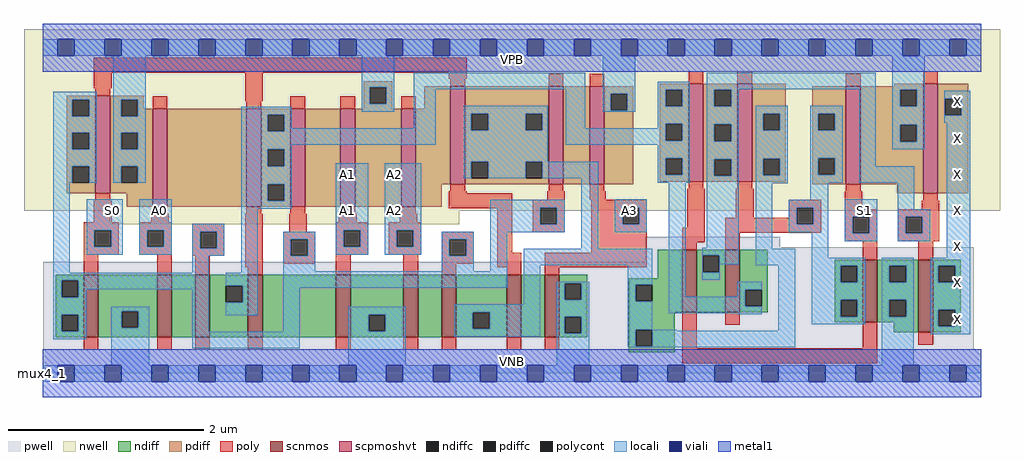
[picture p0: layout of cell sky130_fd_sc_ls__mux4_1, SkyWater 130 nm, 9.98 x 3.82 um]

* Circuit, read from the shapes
.subckt sky130_fd_sc_ls__mux4_1 A0 A1 A2 A3 S0 S1 VGND VNB VPB VPWR X
XM1 VGND S0 n1 VNB sky130_fd_pr__nfet_01v8 w=0.64 l=0.15
XM2 n2 A0 VGND VNB sky130_fd_pr__nfet_01v8 w=0.64 l=0.15
XM3 n3 n1 n2 VNB sky130_fd_pr__nfet_01v8 w=0.64 l=0.15
XM4 n4 S0 n3 VNB sky130_fd_pr__nfet_01v8 w=0.64 l=0.15
XM5 VGND A1 n4 VNB sky130_fd_pr__nfet_01v8 w=0.64 l=0.15
XM6 n5 A2 VGND VNB sky130_fd_pr__nfet_01v8 w=0.64 l=0.15
XM7 n6 n1 n5 VNB sky130_fd_pr__nfet_01v8 w=0.64 l=0.15
XM8 n7 S0 n6 VNB sky130_fd_pr__nfet_01v8 w=0.64 l=0.15
XM9 VGND A3 n7 VNB sky130_fd_pr__nfet_01v8 w=0.64 l=0.15
XM10 n8 S1 n6 VNB sky130_fd_pr__nfet_01v8 w=0.64 l=0.15
XM11 n3 n9 n8 VNB sky130_fd_pr__nfet_01v8 w=0.64 l=0.15
XM12 VGND S1 n9 VNB sky130_fd_pr__nfet_01v8 w=0.64 l=0.15
XM13 X n8 VGND VNB sky130_fd_pr__nfet_01v8 w=0.74 l=0.15
XM14 VPWR S0 n1 VPB sky130_fd_pr__pfet_01v8_hvt w=1 l=0.15
XM15 n10 A0 VPWR VPB sky130_fd_pr__pfet_01v8_hvt w=1 l=0.15
XM16 n3 S0 n10 VPB sky130_fd_pr__pfet_01v8_hvt w=1 l=0.15
XM17 n11 n1 n3 VPB sky130_fd_pr__pfet_01v8_hvt w=1 l=0.15
XM18 VPWR A1 n11 VPB sky130_fd_pr__pfet_01v8_hvt w=1 l=0.15
XM19 n12 A2 VPWR VPB sky130_fd_pr__pfet_01v8_hvt w=1 l=0.15
XM20 n6 S0 n12 VPB sky130_fd_pr__pfet_01v8_hvt w=1 l=0.15
XM21 n13 n1 n6 VPB sky130_fd_pr__pfet_01v8_hvt w=1 l=0.15
XM22 VPWR A3 n13 VPB sky130_fd_pr__pfet_01v8_hvt w=1 l=0.15
XM23 n8 S1 n3 VPB sky130_fd_pr__pfet_01v8_hvt w=1 l=0.15
XM24 n6 n9 n8 VPB sky130_fd_pr__pfet_01v8_hvt w=1 l=0.15
XM25 VPWR S1 n9 VPB sky130_fd_pr__pfet_01v8_hvt w=1 l=0.15
XM26 X n8 VPWR VPB sky130_fd_pr__pfet_01v8_hvt w=1.12 l=0.15
.ends

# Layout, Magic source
magic
tech sky130A
magscale 1 2
<< nwell >>
rect -38 332 1958 704
rect 136 305 852 332
<< pwell >>
rect 1232 258 1509 279
rect 1232 228 1904 258
rect 1 49 1904 228
rect 0 0 1920 49
<< scnmos >>
rect 84 74 114 202
rect 234 74 264 202
rect 312 74 342 202
rect 420 74 450 202
rect 600 74 630 202
rect 738 74 768 202
rect 816 74 846 202
rect 949 74 979 202
rect 1027 74 1057 202
rect 1308 125 1338 253
rect 1396 125 1426 253
rect 1677 104 1707 232
rect 1791 84 1821 232
<< scpmoshvt >>
rect 108 368 138 568
rect 225 341 255 541
rect 417 341 447 541
rect 507 341 537 541
rect 609 341 639 541
rect 733 341 763 541
rect 834 387 864 587
rect 1035 387 1065 587
rect 1119 387 1149 587
rect 1321 392 1351 592
rect 1421 392 1451 592
rect 1643 387 1673 587
rect 1801 368 1831 592
<< ndiff >>
rect 27 190 84 202
rect 27 156 39 190
rect 73 156 84 190
rect 27 120 84 156
rect 27 86 39 120
rect 73 86 84 120
rect 27 74 84 86
rect 114 127 234 202
rect 114 93 162 127
rect 196 93 234 127
rect 114 74 234 93
rect 264 74 312 202
rect 342 179 420 202
rect 342 145 375 179
rect 409 145 420 179
rect 342 74 420 145
rect 450 74 600 202
rect 630 120 738 202
rect 630 86 667 120
rect 701 86 738 120
rect 630 74 738 86
rect 768 74 816 202
rect 846 125 949 202
rect 846 91 880 125
rect 914 91 949 125
rect 846 74 949 91
rect 979 74 1027 202
rect 1057 184 1114 202
rect 1258 194 1308 253
rect 1057 150 1068 184
rect 1102 150 1114 184
rect 1057 116 1114 150
rect 1057 82 1068 116
rect 1102 82 1114 116
rect 1057 74 1114 82
rect 1199 181 1308 194
rect 1199 147 1213 181
rect 1247 147 1308 181
rect 1199 125 1308 147
rect 1338 241 1396 253
rect 1338 207 1350 241
rect 1384 207 1396 241
rect 1338 125 1396 207
rect 1426 171 1483 253
rect 1426 137 1437 171
rect 1471 137 1483 171
rect 1426 125 1483 137
rect 1620 220 1677 232
rect 1620 186 1632 220
rect 1666 186 1677 220
rect 1620 150 1677 186
rect 1199 89 1293 125
rect 1199 55 1213 89
rect 1247 55 1293 89
rect 1199 43 1293 55
rect 1620 116 1632 150
rect 1666 116 1677 150
rect 1620 104 1677 116
rect 1707 220 1791 232
rect 1707 186 1732 220
rect 1766 186 1791 220
rect 1707 150 1791 186
rect 1707 116 1732 150
rect 1766 116 1791 150
rect 1707 104 1791 116
rect 1741 84 1791 104
rect 1821 220 1878 232
rect 1821 186 1832 220
rect 1866 186 1878 220
rect 1821 130 1878 186
rect 1821 96 1832 130
rect 1866 96 1878 130
rect 1821 84 1878 96
<< pdiff >>
rect 49 560 108 568
rect 49 526 61 560
rect 95 526 108 560
rect 49 492 108 526
rect 49 458 61 492
rect 95 458 108 492
rect 49 424 108 458
rect 49 390 61 424
rect 95 390 108 424
rect 49 368 108 390
rect 138 560 207 568
rect 138 526 161 560
rect 195 541 207 560
rect 657 585 715 597
rect 657 551 669 585
rect 703 551 715 585
rect 657 541 715 551
rect 781 541 834 587
rect 195 526 225 541
rect 138 492 225 526
rect 138 458 161 492
rect 195 458 225 492
rect 138 424 225 458
rect 138 390 161 424
rect 195 390 225 424
rect 138 368 225 390
rect 172 341 225 368
rect 255 341 417 541
rect 447 529 507 541
rect 447 495 460 529
rect 494 495 507 529
rect 447 458 507 495
rect 447 424 460 458
rect 494 424 507 458
rect 447 387 507 424
rect 447 353 460 387
rect 494 353 507 387
rect 447 341 507 353
rect 537 341 609 541
rect 639 341 733 541
rect 763 387 834 541
rect 864 531 1035 587
rect 864 497 877 531
rect 911 497 988 531
rect 1022 497 1035 531
rect 864 433 1035 497
rect 864 399 877 433
rect 911 399 988 433
rect 1022 399 1035 433
rect 864 387 1035 399
rect 1065 387 1119 587
rect 1149 572 1208 587
rect 1149 538 1162 572
rect 1196 538 1208 572
rect 1149 387 1208 538
rect 1262 580 1321 592
rect 1262 546 1274 580
rect 1308 546 1321 580
rect 1262 510 1321 546
rect 1262 476 1274 510
rect 1308 476 1321 510
rect 1262 440 1321 476
rect 1262 406 1274 440
rect 1308 406 1321 440
rect 1262 392 1321 406
rect 1351 580 1421 592
rect 1351 546 1374 580
rect 1408 546 1421 580
rect 1351 509 1421 546
rect 1351 475 1374 509
rect 1408 475 1421 509
rect 1351 438 1421 475
rect 1351 404 1374 438
rect 1408 404 1421 438
rect 1351 392 1421 404
rect 1451 531 1520 592
rect 1742 587 1801 592
rect 1451 497 1474 531
rect 1508 497 1520 531
rect 1451 439 1520 497
rect 1451 405 1474 439
rect 1508 405 1520 439
rect 1451 392 1520 405
rect 1574 531 1643 587
rect 1574 497 1586 531
rect 1620 497 1643 531
rect 1574 440 1643 497
rect 1574 406 1586 440
rect 1620 406 1643 440
rect 763 341 816 387
rect 1574 387 1643 406
rect 1673 580 1801 587
rect 1673 546 1754 580
rect 1788 546 1801 580
rect 1673 508 1801 546
rect 1673 474 1754 508
rect 1788 474 1801 508
rect 1673 387 1801 474
rect 1748 368 1801 387
rect 1831 562 1893 592
rect 1831 528 1845 562
rect 1879 528 1893 562
rect 1831 368 1893 528
<< ndiffc >>
rect 39 156 73 190
rect 39 86 73 120
rect 162 93 196 127
rect 375 145 409 179
rect 667 86 701 120
rect 880 91 914 125
rect 1068 150 1102 184
rect 1068 82 1102 116
rect 1213 147 1247 181
rect 1350 207 1384 241
rect 1437 137 1471 171
rect 1632 186 1666 220
rect 1213 55 1247 89
rect 1632 116 1666 150
rect 1732 186 1766 220
rect 1732 116 1766 150
rect 1832 186 1866 220
rect 1832 96 1866 130
<< pdiffc >>
rect 61 526 95 560
rect 61 458 95 492
rect 61 390 95 424
rect 161 526 195 560
rect 669 551 703 585
rect 161 458 195 492
rect 161 390 195 424
rect 460 495 494 529
rect 460 424 494 458
rect 460 353 494 387
rect 877 497 911 531
rect 988 497 1022 531
rect 877 399 911 433
rect 988 399 1022 433
rect 1162 538 1196 572
rect 1274 546 1308 580
rect 1274 476 1308 510
rect 1274 406 1308 440
rect 1374 546 1408 580
rect 1374 475 1408 509
rect 1374 404 1408 438
rect 1474 497 1508 531
rect 1474 405 1508 439
rect 1586 497 1620 531
rect 1586 406 1620 440
rect 1754 546 1788 580
rect 1754 474 1788 508
rect 1845 528 1879 562
<< poly >>
rect 105 615 867 645
rect 105 583 141 615
rect 108 568 138 583
rect 225 541 255 567
rect 414 556 450 615
rect 831 602 867 615
rect 834 587 864 602
rect 1035 587 1065 613
rect 1119 587 1149 613
rect 1321 592 1351 618
rect 1421 592 1451 618
rect 417 541 447 556
rect 507 541 537 567
rect 609 541 639 567
rect 733 541 763 567
rect 108 353 138 368
rect 105 309 141 353
rect 1643 587 1673 613
rect 1801 592 1831 618
rect 834 372 864 387
rect 1035 372 1065 387
rect 1119 372 1149 387
rect 1321 377 1351 392
rect 1421 377 1451 392
rect 831 368 867 372
rect 225 326 255 341
rect 417 326 447 341
rect 507 326 537 341
rect 609 326 639 341
rect 733 326 763 341
rect 831 338 960 368
rect 1032 355 1068 372
rect 1119 355 1152 372
rect 222 309 258 326
rect 84 293 156 309
rect 84 259 106 293
rect 140 259 156 293
rect 84 243 156 259
rect 198 293 264 309
rect 198 259 214 293
rect 248 259 264 293
rect 198 243 264 259
rect 84 202 114 243
rect 234 202 264 243
rect 306 290 372 306
rect 306 256 322 290
rect 356 256 372 290
rect 306 240 372 256
rect 312 202 342 240
rect 414 217 450 326
rect 504 290 540 326
rect 606 309 642 326
rect 730 309 766 326
rect 600 293 666 309
rect 492 274 558 290
rect 492 240 508 274
rect 542 240 558 274
rect 492 224 558 240
rect 600 259 616 293
rect 650 259 666 293
rect 600 243 666 259
rect 708 293 774 309
rect 708 259 724 293
rect 758 259 774 293
rect 708 243 774 259
rect 816 274 882 290
rect 420 202 450 217
rect 600 202 630 243
rect 738 202 768 243
rect 816 240 832 274
rect 866 240 882 274
rect 816 224 882 240
rect 930 247 960 338
rect 1002 339 1068 355
rect 1002 305 1018 339
rect 1052 305 1068 339
rect 1002 289 1068 305
rect 1122 339 1236 355
rect 1122 305 1186 339
rect 1220 305 1236 339
rect 1122 247 1236 305
rect 1318 298 1354 377
rect 1418 318 1454 377
rect 1643 372 1673 387
rect 1526 339 1592 355
rect 1526 318 1542 339
rect 1308 268 1354 298
rect 1396 305 1542 318
rect 1576 305 1592 339
rect 1640 336 1676 372
rect 1801 353 1831 368
rect 1798 336 1834 353
rect 1396 288 1592 305
rect 1641 320 1707 336
rect 1308 253 1338 268
rect 1396 253 1426 288
rect 1641 286 1657 320
rect 1691 286 1707 320
rect 1641 270 1707 286
rect 1749 320 1834 336
rect 1749 286 1765 320
rect 1799 286 1834 320
rect 1749 270 1834 286
rect 816 202 846 224
rect 930 217 979 247
rect 949 202 979 217
rect 1027 217 1236 247
rect 1027 202 1057 217
rect 1677 232 1707 270
rect 1791 232 1821 270
rect 84 48 114 74
rect 234 48 264 74
rect 312 48 342 74
rect 420 48 450 74
rect 600 48 630 74
rect 738 48 768 74
rect 816 48 846 74
rect 949 48 979 74
rect 1027 48 1057 74
rect 1308 51 1338 125
rect 1396 99 1426 125
rect 1677 51 1707 104
rect 1791 58 1821 84
rect 1308 21 1707 51
<< polycont >>
rect 106 259 140 293
rect 214 259 248 293
rect 322 256 356 290
rect 508 240 542 274
rect 616 259 650 293
rect 724 259 758 293
rect 832 240 866 274
rect 1018 305 1052 339
rect 1186 305 1220 339
rect 1542 305 1576 339
rect 1657 286 1691 320
rect 1765 286 1799 320
<< locali >>
rect 0 649 31 683
rect 65 649 127 683
rect 161 649 223 683
rect 257 649 319 683
rect 353 649 415 683
rect 449 649 511 683
rect 545 649 607 683
rect 641 649 703 683
rect 737 649 799 683
rect 833 649 895 683
rect 929 649 991 683
rect 1025 649 1087 683
rect 1121 649 1183 683
rect 1217 649 1279 683
rect 1313 649 1375 683
rect 1409 649 1471 683
rect 1505 649 1567 683
rect 1601 649 1663 683
rect 1697 649 1759 683
rect 1793 649 1855 683
rect 1889 649 1920 683
rect 22 560 111 576
rect 22 526 61 560
rect 95 526 111 560
rect 22 492 111 526
rect 22 458 61 492
rect 95 458 111 492
rect 22 424 111 458
rect 22 390 61 424
rect 95 390 111 424
rect 145 560 211 649
rect 145 526 161 560
rect 195 526 211 560
rect 653 585 719 649
rect 653 551 669 585
rect 703 551 719 585
rect 145 492 211 526
rect 145 458 161 492
rect 195 458 211 492
rect 145 424 211 458
rect 145 390 161 424
rect 195 390 211 424
rect 406 529 510 545
rect 653 535 719 551
rect 759 581 1110 615
rect 406 495 460 529
rect 494 501 510 529
rect 759 501 804 581
rect 494 495 804 501
rect 406 467 804 495
rect 861 531 1033 547
rect 861 497 877 531
rect 911 497 988 531
rect 1022 497 1033 531
rect 406 458 510 467
rect 406 424 460 458
rect 494 424 510 458
rect 861 433 1033 497
rect 1070 501 1110 581
rect 1146 572 1212 649
rect 1146 538 1162 572
rect 1196 538 1212 572
rect 1146 535 1212 538
rect 1258 580 1324 596
rect 1258 546 1274 580
rect 1308 546 1324 580
rect 1258 510 1324 546
rect 1258 501 1274 510
rect 1070 476 1274 501
rect 1308 476 1324 510
rect 1070 467 1324 476
rect 1258 440 1324 467
rect 22 206 56 390
rect 406 387 510 424
rect 90 293 164 356
rect 90 259 106 293
rect 140 259 164 293
rect 90 243 164 259
rect 198 293 264 356
rect 406 353 460 387
rect 494 353 510 387
rect 406 337 510 353
rect 198 259 214 293
rect 248 259 264 293
rect 198 243 264 259
rect 306 290 372 306
rect 306 256 322 290
rect 356 256 372 290
rect 306 240 372 256
rect 306 206 340 240
rect 406 206 440 337
rect 600 293 666 430
rect 22 190 340 206
rect 22 156 39 190
rect 73 172 340 190
rect 73 156 89 172
rect 22 120 89 156
rect 22 86 39 120
rect 73 86 89 120
rect 22 70 89 86
rect 140 127 218 136
rect 140 93 162 127
rect 196 93 218 127
rect 140 17 218 93
rect 306 85 340 172
rect 375 179 440 206
rect 409 145 440 179
rect 375 119 440 145
rect 492 274 558 290
rect 492 240 508 274
rect 542 240 558 274
rect 600 259 616 293
rect 650 259 666 293
rect 600 243 666 259
rect 700 293 774 430
rect 861 399 877 433
rect 911 399 988 433
rect 1022 399 1136 433
rect 700 259 724 293
rect 758 259 774 293
rect 916 339 1068 355
rect 916 305 1018 339
rect 1052 305 1068 339
rect 700 243 774 259
rect 816 274 882 290
rect 492 209 558 240
rect 816 240 832 274
rect 866 240 882 274
rect 816 209 882 240
rect 916 289 1068 305
rect 916 209 950 289
rect 1102 255 1136 399
rect 1258 406 1274 440
rect 1308 406 1324 440
rect 1258 390 1324 406
rect 1358 581 1704 615
rect 1358 580 1424 581
rect 1358 546 1374 580
rect 1408 546 1424 580
rect 1358 509 1424 546
rect 1358 475 1374 509
rect 1408 475 1424 509
rect 1358 438 1424 475
rect 1358 404 1374 438
rect 1408 404 1424 438
rect 1170 339 1236 356
rect 1170 305 1186 339
rect 1220 305 1236 339
rect 1170 289 1236 305
rect 492 175 950 209
rect 984 221 1247 255
rect 492 85 526 175
rect 984 141 1018 221
rect 306 51 526 85
rect 625 120 743 136
rect 625 86 667 120
rect 701 86 743 120
rect 625 17 743 86
rect 842 125 1018 141
rect 842 91 880 125
rect 914 91 1018 125
rect 842 75 1018 91
rect 1052 184 1118 187
rect 1052 150 1068 184
rect 1102 150 1118 184
rect 1052 116 1118 150
rect 1052 82 1068 116
rect 1102 82 1118 116
rect 1052 17 1118 82
rect 1197 181 1247 221
rect 1197 147 1213 181
rect 1197 89 1247 147
rect 1281 157 1315 390
rect 1358 257 1424 404
rect 1349 241 1424 257
rect 1349 207 1350 241
rect 1384 223 1424 241
rect 1458 531 1524 547
rect 1458 497 1474 531
rect 1508 497 1524 531
rect 1458 439 1524 497
rect 1458 405 1474 439
rect 1508 405 1524 439
rect 1458 389 1524 405
rect 1570 531 1636 547
rect 1570 497 1586 531
rect 1620 497 1636 531
rect 1570 440 1636 497
rect 1570 406 1586 440
rect 1620 406 1636 440
rect 1570 390 1636 406
rect 1670 424 1704 581
rect 1738 580 1804 649
rect 1738 546 1754 580
rect 1788 546 1804 580
rect 1738 508 1804 546
rect 1844 562 1897 578
rect 1844 528 1845 562
rect 1879 528 1897 562
rect 1844 512 1897 528
rect 1738 474 1754 508
rect 1788 474 1804 508
rect 1738 458 1804 474
rect 1670 390 1783 424
rect 1458 255 1492 389
rect 1570 355 1607 390
rect 1526 339 1607 355
rect 1526 305 1542 339
rect 1576 305 1607 339
rect 1526 289 1607 305
rect 1384 207 1385 223
rect 1458 221 1539 255
rect 1349 191 1385 207
rect 1421 171 1471 187
rect 1421 157 1437 171
rect 1281 137 1437 157
rect 1281 123 1471 137
rect 1421 121 1471 123
rect 1197 55 1213 89
rect 1247 87 1297 89
rect 1505 87 1539 221
rect 1573 236 1607 289
rect 1641 320 1707 356
rect 1641 286 1657 320
rect 1691 286 1707 320
rect 1641 270 1707 286
rect 1749 336 1783 390
rect 1749 320 1815 336
rect 1749 286 1765 320
rect 1799 286 1815 320
rect 1749 270 1815 286
rect 1849 236 1897 512
rect 1573 220 1682 236
rect 1573 186 1632 220
rect 1666 186 1682 220
rect 1573 150 1682 186
rect 1573 116 1632 150
rect 1666 116 1682 150
rect 1573 100 1682 116
rect 1716 220 1782 236
rect 1716 186 1732 220
rect 1766 186 1782 220
rect 1716 150 1782 186
rect 1716 116 1732 150
rect 1766 116 1782 150
rect 1247 55 1539 87
rect 1197 53 1539 55
rect 1716 17 1782 116
rect 1816 220 1897 236
rect 1816 186 1832 220
rect 1866 186 1897 220
rect 1816 130 1897 186
rect 1816 96 1832 130
rect 1866 96 1897 130
rect 1816 80 1897 96
rect 0 -17 31 17
rect 65 -17 127 17
rect 161 -17 223 17
rect 257 -17 319 17
rect 353 -17 415 17
rect 449 -17 511 17
rect 545 -17 607 17
rect 641 -17 703 17
rect 737 -17 799 17
rect 833 -17 895 17
rect 929 -17 991 17
rect 1025 -17 1087 17
rect 1121 -17 1183 17
rect 1217 -17 1279 17
rect 1313 -17 1375 17
rect 1409 -17 1471 17
rect 1505 -17 1567 17
rect 1601 -17 1663 17
rect 1697 -17 1759 17
rect 1793 -17 1855 17
rect 1889 -17 1920 17
<< viali >>
rect 31 649 65 683
rect 127 649 161 683
rect 223 649 257 683
rect 319 649 353 683
rect 415 649 449 683
rect 511 649 545 683
rect 607 649 641 683
rect 703 649 737 683
rect 799 649 833 683
rect 895 649 929 683
rect 991 649 1025 683
rect 1087 649 1121 683
rect 1183 649 1217 683
rect 1279 649 1313 683
rect 1375 649 1409 683
rect 1471 649 1505 683
rect 1567 649 1601 683
rect 1663 649 1697 683
rect 1759 649 1793 683
rect 1855 649 1889 683
rect 31 -17 65 17
rect 127 -17 161 17
rect 223 -17 257 17
rect 319 -17 353 17
rect 415 -17 449 17
rect 511 -17 545 17
rect 607 -17 641 17
rect 703 -17 737 17
rect 799 -17 833 17
rect 895 -17 929 17
rect 991 -17 1025 17
rect 1087 -17 1121 17
rect 1183 -17 1217 17
rect 1279 -17 1313 17
rect 1375 -17 1409 17
rect 1471 -17 1505 17
rect 1567 -17 1601 17
rect 1663 -17 1697 17
rect 1759 -17 1793 17
rect 1855 -17 1889 17
<< metal1 >>
rect 0 683 1920 715
rect 0 649 31 683
rect 65 649 127 683
rect 161 649 223 683
rect 257 649 319 683
rect 353 649 415 683
rect 449 649 511 683
rect 545 649 607 683
rect 641 649 703 683
rect 737 649 799 683
rect 833 649 895 683
rect 929 649 991 683
rect 1025 649 1087 683
rect 1121 649 1183 683
rect 1217 649 1279 683
rect 1313 649 1375 683
rect 1409 649 1471 683
rect 1505 649 1567 683
rect 1601 649 1663 683
rect 1697 649 1759 683
rect 1793 649 1855 683
rect 1889 649 1920 683
rect 0 617 1920 649
rect 0 17 1920 49
rect 0 -17 31 17
rect 65 -17 127 17
rect 161 -17 223 17
rect 257 -17 319 17
rect 353 -17 415 17
rect 449 -17 511 17
rect 545 -17 607 17
rect 641 -17 703 17
rect 737 -17 799 17
rect 833 -17 895 17
rect 929 -17 991 17
rect 1025 -17 1087 17
rect 1121 -17 1183 17
rect 1217 -17 1279 17
rect 1313 -17 1375 17
rect 1409 -17 1471 17
rect 1505 -17 1567 17
rect 1601 -17 1663 17
rect 1697 -17 1759 17
rect 1793 -17 1855 17
rect 1889 -17 1920 17
rect 0 -49 1920 -17
<< labels >>
rlabel comment s 0 0 0 0 4 mux4_1
flabel pwell s 0 0 1920 49 0 FreeSans 200 0 0 0 VNB
port 8 nsew ground bidirectional
flabel nwell s 0 617 1920 666 0 FreeSans 200 0 0 0 VPB
port 9 nsew power bidirectional
flabel metal1 s 0 617 1920 666 0 FreeSans 340 0 0 0 VPWR
port 10 nsew power bidirectional abutment
flabel metal1 s 0 0 1920 49 0 FreeSans 340 0 0 0 VGND
port 7 nsew ground bidirectional abutment
flabel locali s 127 316 161 350 0 FreeSans 340 0 0 0 S0
port 5 nsew signal input
flabel locali s 1183 316 1217 350 0 FreeSans 340 0 0 0 A3
port 4 nsew signal input
flabel locali s 703 316 737 350 0 FreeSans 340 0 0 0 A2
port 3 nsew signal input
flabel locali s 703 390 737 424 0 FreeSans 340 0 0 0 A2
port 3 nsew signal input
flabel locali s 607 316 641 350 0 FreeSans 340 0 0 0 A1
port 2 nsew signal input
flabel locali s 607 390 641 424 0 FreeSans 340 0 0 0 A1
port 2 nsew signal input
flabel locali s 223 316 257 350 0 FreeSans 340 0 0 0 A0
port 1 nsew signal input
flabel locali s 1663 316 1697 350 0 FreeSans 340 0 0 0 S1
port 6 nsew signal input
flabel locali s 1855 94 1889 128 0 FreeSans 340 0 0 0 X
port 11 nsew signal output
flabel locali s 1855 168 1889 202 0 FreeSans 340 0 0 0 X
port 11 nsew signal output
flabel locali s 1855 242 1889 276 0 FreeSans 340 0 0 0 X
port 11 nsew signal output
flabel locali s 1855 316 1889 350 0 FreeSans 340 0 0 0 X
port 11 nsew signal output
flabel locali s 1855 390 1889 424 0 FreeSans 340 0 0 0 X
port 11 nsew signal output
flabel locali s 1855 464 1889 498 0 FreeSans 340 0 0 0 X
port 11 nsew signal output
flabel locali s 1855 538 1889 572 0 FreeSans 340 0 0 0 X
port 11 nsew signal output
<< properties >>
string LEFsite unit
string LEFclass CORE
string FIXED_BBOX 0 0 1920 666
string GDS_FILE $PDKPATH/libs.ref/sky130_fd_sc_ls/gds/sky130_fd_sc_ls.gds
string LEFsymmetry X Y
string GDS_END 752064
string GDS_START 737602
<< end >>
